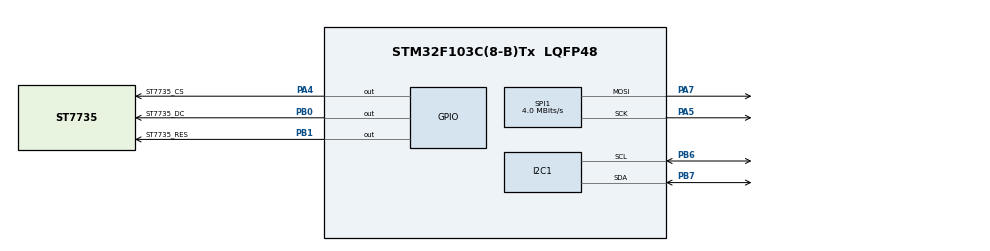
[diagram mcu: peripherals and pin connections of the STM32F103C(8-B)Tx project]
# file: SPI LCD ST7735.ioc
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Mcu.Family=STM32F1
Mcu.Name=STM32F103C(8-B)Tx
Mcu.Package=LQFP48
NVIC.PriorityGroup=NVIC_PRIORITYGROUP_4
PA13.Mode=Serial_Wire
PA13.Signal=SYS_JTMS-SWDIO
PA14.Mode=Serial_Wire
PA14.Signal=SYS_JTCK-SWCLK
PA4.GPIO_Label=ST7735_CS
PA4.Signal=GPIO_Output
PA5.Mode=TX_Only_Simplex_Unidirect_Master
PA5.Signal=SPI1_SCK
PA7.Mode=TX_Only_Simplex_Unidirect_Master
PA7.Signal=SPI1_MOSI
PB0.GPIO_Label=ST7735_DC
PB0.Signal=GPIO_Output
PB1.GPIO_Label=ST7735_RES
PB1.Signal=GPIO_Output
PB6.Mode=I2C
PB6.Signal=I2C1_SCL
PB7.Mode=I2C
PB7.Signal=I2C1_SDA
ProjectManager.HeapSize=0x200
ProjectManager.StackSize=0x400
ProjectManager.TargetToolchain=MDK-ARM V5
RCC.APB1Freq_Value=8000000
RCC.APB2Freq_Value=8000000
SPI1.CalculateBaudRate=4.0 MBits/s
SPI1.Direction=SPI_DIRECTION_2LINES
SPI1.Mode=SPI_MODE_MASTER
SPI1.VirtualType=VM_MASTER
TIM4.Prescaler=8000-1
VP_TIM4_VS_ClockSourceINT.Mode=Internal
board=custom

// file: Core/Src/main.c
/* USER CODE BEGIN Header */
/**
  ******************************************************************************
  * @file           : main.c
  * @brief          : Main program body
  ******************************************************************************
  * @attention
  *
  * Copyright (c) 2023 STMicroelectronics.
  * All rights reserved.
  *
  * This software is licensed under terms that can be found in the LICENSE file
  * in the root directory of this software component.
  * If no LICENSE file comes with this software, it is provided AS-IS.
  *
  ******************************************************************************
  */
/* USER CODE END Header */
#include "main.h"

/* USER CODE BEGIN Includes */
#include "ST7735_SPI.h"
#include "fonts.h"
#include "DS3231.h"
#include "stdio.h"
#include "string.h"
//#include "clock.h"
//#include "bitmap.h"
//#include "horse_anim.h"
/* USER CODE END Includes */

/* USER CODE BEGIN PTD */
typedef struct{
	char Date[10];
	char Day[10];
	char Month[10];
	char Year[10];
	char Second[10];
	char Minute[10];
	char Hours[10];
} TFT_LCD_SHOW;
/* USER CODE END PTD */

I2C_HandleTypeDef hi2c1;

SPI_HandleTypeDef hspi1;

TIM_HandleTypeDef htim4;

/* USER CODE BEGIN PV */
DS3231_Name DS3231;
TFT_LCD_SHOW LCD_DS3231;

char *DayOfWeek[]={"MONDAY","TUESDAY","WEDNESDAY","THURSDAY","FRIDAY","SARTURDAY","SUNDAY"};
uint8_t Date_previous=0;
uint8_t Date_check=0;
uint32_t CurrentMillis = 0;
uint32_t PreviousMillis = 0;
/* USER CODE END PV */

void SystemClock_Config(void);
static void MX_GPIO_Init(void);
static void MX_SPI1_Init(void);
static void MX_TIM4_Init(void);
static void MX_I2C1_Init(void);
/* USER CODE BEGIN PFP */
void GetDate(){
	DS3231_GetDate(&DS3231);
	if (Date_previous!=DS3231.Date) {
		Date_previous=DS3231.Date;
		Date_check=1;
	}
	if (DS3231.Date<10) sprintf(LCD_DS3231.Date,"0%d",DS3231.Date);
	else sprintf(LCD_DS3231.Date,"%d",DS3231.Date);
	if (DS3231.Month<10) sprintf(LCD_DS3231.Month,"/0%d",DS3231.Month);
	else sprintf(LCD_DS3231.Month,"/%d",DS3231.Month);
	if (DS3231.Year<10) sprintf(LCD_DS3231.Year,"/200%d",DS3231.Year);
	else sprintf(LCD_DS3231.Year,"/20%d",DS3231.Year);
}

void GetTime(){
	DS3231_GetDate(&DS3231);
	DS3231_GetTime(&DS3231);
	if (DS3231.Sec<10) sprintf(LCD_DS3231.Second,":0%d",DS3231.Sec);
	else sprintf(LCD_DS3231.Second,":%d",DS3231.Sec);
	if (DS3231.Min<10) sprintf(LCD_DS3231.Minute,":0%d",DS3231.Min);
	else sprintf(LCD_DS3231.Minute,":%d",DS3231.Min);
	if (DS3231.Hours<10) sprintf(LCD_DS3231.Hours,"0%d",DS3231.Hours);
	else sprintf(LCD_DS3231.Hours,"%d",DS3231.Hours);
}

void Draw_Screen_Frame(){
	ST7735_FillScreen(ST7735_BLACK);
	drawRect(0,0,159,80,ST7735_WHITE);
	ST7735_FillRectangle(0,0,17,80,ST7735_WHITE);
	ST7735_WriteString(5, 15, "L", Font_7x10, ST7735_CYAN, ST7735_BLACK);
	ST7735_WriteString(5, 25, "O", Font_7x10, ST7735_CYAN, ST7735_BLACK);
	ST7735_WriteString(5, 35, "C", Font_7x10, ST7735_CYAN, ST7735_BLACK);
	ST7735_WriteString(5, 45, "A", Font_7x10, ST7735_CYAN, ST7735_BLACK);
	ST7735_WriteString(5, 55, "L", Font_7x10, ST7735_CYAN, ST7735_BLACK);
}
//142 -
void Draw_Screen_DayofWeek(){
	uint8_t x_pos;
	ST7735_FillRectangle(30,4,128,22,ST7735_BLACK);
	x_pos = 17+(142-strlen(DayOfWeek[DS3231.Day])*11)/2;
	ST7735_WriteString(x_pos, 4,DayOfWeek[DS3231.Day], Font_11x18, ST7735_CYAN, ST7735_BLACK);
}

void Draw_Screen_DateAYear(){
	ST7735_WriteString(33, 27,LCD_DS3231.Date, Font_11x18, ST7735_YELLOW, ST7735_BLACK);
	ST7735_WriteString(55, 27,LCD_DS3231.Month, Font_11x18, ST7735_YELLOW, ST7735_BLACK);
	ST7735_WriteString(88, 27,LCD_DS3231.Year, Font_11x18, ST7735_YELLOW, ST7735_BLACK);
}
void Draw_Screen_Time(){
	ST7735_WriteString(31, 50,LCD_DS3231.Hours, Font_16x26, ST7735_WHITE, ST7735_BLACK);
	ST7735_WriteString(63, 50,LCD_DS3231.Minute, Font_16x26, ST7735_WHITE, ST7735_BLACK);
	ST7735_WriteString(111, 56,LCD_DS3231.Second, Font_11x18, ST7735_WHITE, ST7735_BLACK);
}

void Screen_Init(){
	//DS3231_SetDate(&DS3231,4,27,4,23);
	//DS3231_SetTime(&DS3231,20,13,15);
	Draw_Screen_Frame();
	Draw_Screen_Time();
	Draw_Screen_DateAYear();
	Draw_Screen_DayofWeek();
}

void Screen_show(){
	GetDate();
	CurrentMillis = HAL_GetTick();
	if (CurrentMillis-PreviousMillis>=1000){
		GetTime();
		Draw_Screen_Time();
		PreviousMillis=CurrentMillis;
	}
	if (Date_check) {
		Draw_Screen_DateAYear();
		Draw_Screen_DayofWeek();
		Date_check=0;
	}
	ST7735_WriteString(50, 90,"~DH~", Font_16x26, ST7735_WHITE, ST7735_BLACK);
}
/* USER CODE END PFP */

int main(void)
{

  /* MCU Configuration--------------------------------------------------------*/

  /* Reset of all peripherals, Initializes the Flash interface and the Systick. */
  HAL_Init();

  /* Configure the system clock */
  SystemClock_Config();

  /* Initialize all configured peripherals */
  MX_GPIO_Init();
  MX_SPI1_Init();
  MX_TIM4_Init();
  MX_I2C1_Init();
  /* USER CODE BEGIN 2 */
	ST7735_Init();
	DS3231_Init(&DS3231,&hi2c1);
	Screen_Init();
  /* USER CODE END 2 */

  /* Infinite loop */
  while (1)
  {

    /* USER CODE BEGIN 3 */
		Screen_show();
  }
  /* USER CODE END 3 */
}

void SystemClock_Config(void)
{
  RCC_OscInitTypeDef RCC_OscInitStruct = {0};
  RCC_ClkInitTypeDef RCC_ClkInitStruct = {0};

  /** Initializes the RCC Oscillators according to the specified parameters
  * in the RCC_OscInitTypeDef structure.
  */
  RCC_OscInitStruct.OscillatorType = RCC_OSCILLATORTYPE_HSI;
  RCC_OscInitStruct.HSIState = RCC_HSI_ON;
  RCC_OscInitStruct.HSICalibrationValue = RCC_HSICALIBRATION_DEFAULT;
  RCC_OscInitStruct.PLL.PLLState = RCC_PLL_NONE;
  if (HAL_RCC_OscConfig(&RCC_OscInitStruct) != HAL_OK)
  {
    Error_Handler();
  }

  /** Initializes the CPU, AHB and APB buses clocks
  */
  RCC_ClkInitStruct.ClockType = RCC_CLOCKTYPE_HCLK|RCC_CLOCKTYPE_SYSCLK
                              |RCC_CLOCKTYPE_PCLK1|RCC_CLOCKTYPE_PCLK2;
  RCC_ClkInitStruct.SYSCLKSource = RCC_SYSCLKSOURCE_HSI;
  RCC_ClkInitStruct.AHBCLKDivider = RCC_SYSCLK_DIV1;
  RCC_ClkInitStruct.APB1CLKDivider = RCC_HCLK_DIV1;
  RCC_ClkInitStruct.APB2CLKDivider = RCC_HCLK_DIV1;

  if (HAL_RCC_ClockConfig(&RCC_ClkInitStruct, FLASH_LATENCY_0) != HAL_OK)
  {
    Error_Handler();
  }
}

static void MX_I2C1_Init(void)
{

  hi2c1.Instance = I2C1;
  hi2c1.Init.ClockSpeed = 100000;
  hi2c1.Init.DutyCycle = I2C_DUTYCYCLE_2;
  hi2c1.Init.OwnAddress1 = 0;
  hi2c1.Init.AddressingMode = I2C_ADDRESSINGMODE_7BIT;
  hi2c1.Init.DualAddressMode = I2C_DUALADDRESS_DISABLE;
  hi2c1.Init.OwnAddress2 = 0;
  hi2c1.Init.GeneralCallMode = I2C_GENERALCALL_DISABLE;
  hi2c1.Init.NoStretchMode = I2C_NOSTRETCH_DISABLE;
  if (HAL_I2C_Init(&hi2c1) != HAL_OK)
  {
    Error_Handler();
  }

}

static void MX_SPI1_Init(void)
{

  /* SPI1 parameter configuration*/
  hspi1.Instance = SPI1;
  hspi1.Init.Mode = SPI_MODE_MASTER;
  hspi1.Init.Direction = SPI_DIRECTION_2LINES;
  hspi1.Init.DataSize = SPI_DATASIZE_8BIT;
  hspi1.Init.CLKPolarity = SPI_POLARITY_LOW;
  hspi1.Init.CLKPhase = SPI_PHASE_1EDGE;
  hspi1.Init.NSS = SPI_NSS_SOFT;
  hspi1.Init.BaudRatePrescaler = SPI_BAUDRATEPRESCALER_2;
  hspi1.Init.FirstBit = SPI_FIRSTBIT_MSB;
  hspi1.Init.TIMode = SPI_TIMODE_DISABLE;
  hspi1.Init.CRCCalculation = SPI_CRCCALCULATION_DISABLE;
  hspi1.Init.CRCPolynomial = 10;
  if (HAL_SPI_Init(&hspi1) != HAL_OK)
  {
    Error_Handler();
  }

}

static void MX_TIM4_Init(void)
{

  TIM_ClockConfigTypeDef sClockSourceConfig = {0};
  TIM_MasterConfigTypeDef sMasterConfig = {0};

  htim4.Instance = TIM4;
  htim4.Init.Prescaler = 8000-1;
  htim4.Init.CounterMode = TIM_COUNTERMODE_UP;
  htim4.Init.Period = 65535;
  htim4.Init.ClockDivision = TIM_CLOCKDIVISION_DIV1;
  htim4.Init.AutoReloadPreload = TIM_AUTORELOAD_PRELOAD_DISABLE;
  if (HAL_TIM_Base_Init(&htim4) != HAL_OK)
  {
    Error_Handler();
  }
  sClockSourceConfig.ClockSource = TIM_CLOCKSOURCE_INTERNAL;
  if (HAL_TIM_ConfigClockSource(&htim4, &sClockSourceConfig) != HAL_OK)
  {
    Error_Handler();
  }
  sMasterConfig.MasterOutputTrigger = TIM_TRGO_RESET;
  sMasterConfig.MasterSlaveMode = TIM_MASTERSLAVEMODE_DISABLE;
  if (HAL_TIMEx_MasterConfigSynchronization(&htim4, &sMasterConfig) != HAL_OK)
  {
    Error_Handler();
  }

}

static void MX_GPIO_Init(void)
{
  GPIO_InitTypeDef GPIO_InitStruct = {0};

  /* GPIO Ports Clock Enable */
  __HAL_RCC_GPIOA_CLK_ENABLE();
  __HAL_RCC_GPIOB_CLK_ENABLE();

  /*Configure GPIO pin Output Level */
  HAL_GPIO_WritePin(ST7735_CS_GPIO_Port, ST7735_CS_Pin, GPIO_PIN_RESET);

  /*Configure GPIO pin Output Level */
  HAL_GPIO_WritePin(GPIOB, ST7735_DC_Pin|ST7735_RES_Pin, GPIO_PIN_RESET);

  /*Configure GPIO pin : ST7735_CS_Pin */
  GPIO_InitStruct.Pin = ST7735_CS_Pin;
  GPIO_InitStruct.Mode = GPIO_MODE_OUTPUT_PP;
  GPIO_InitStruct.Pull = GPIO_NOPULL;
  GPIO_InitStruct.Speed = GPIO_SPEED_FREQ_LOW;
  HAL_GPIO_Init(ST7735_CS_GPIO_Port, &GPIO_InitStruct);

  /*Configure GPIO pins : ST7735_DC_Pin ST7735_RES_Pin */
  GPIO_InitStruct.Pin = ST7735_DC_Pin|ST7735_RES_Pin;
  GPIO_InitStruct.Mode = GPIO_MODE_OUTPUT_PP;
  GPIO_InitStruct.Pull = GPIO_NOPULL;
  GPIO_InitStruct.Speed = GPIO_SPEED_FREQ_LOW;
  HAL_GPIO_Init(GPIOB, &GPIO_InitStruct);

}

void Error_Handler(void)
{
  __disable_irq();
  while (1)
  {
  }
}
